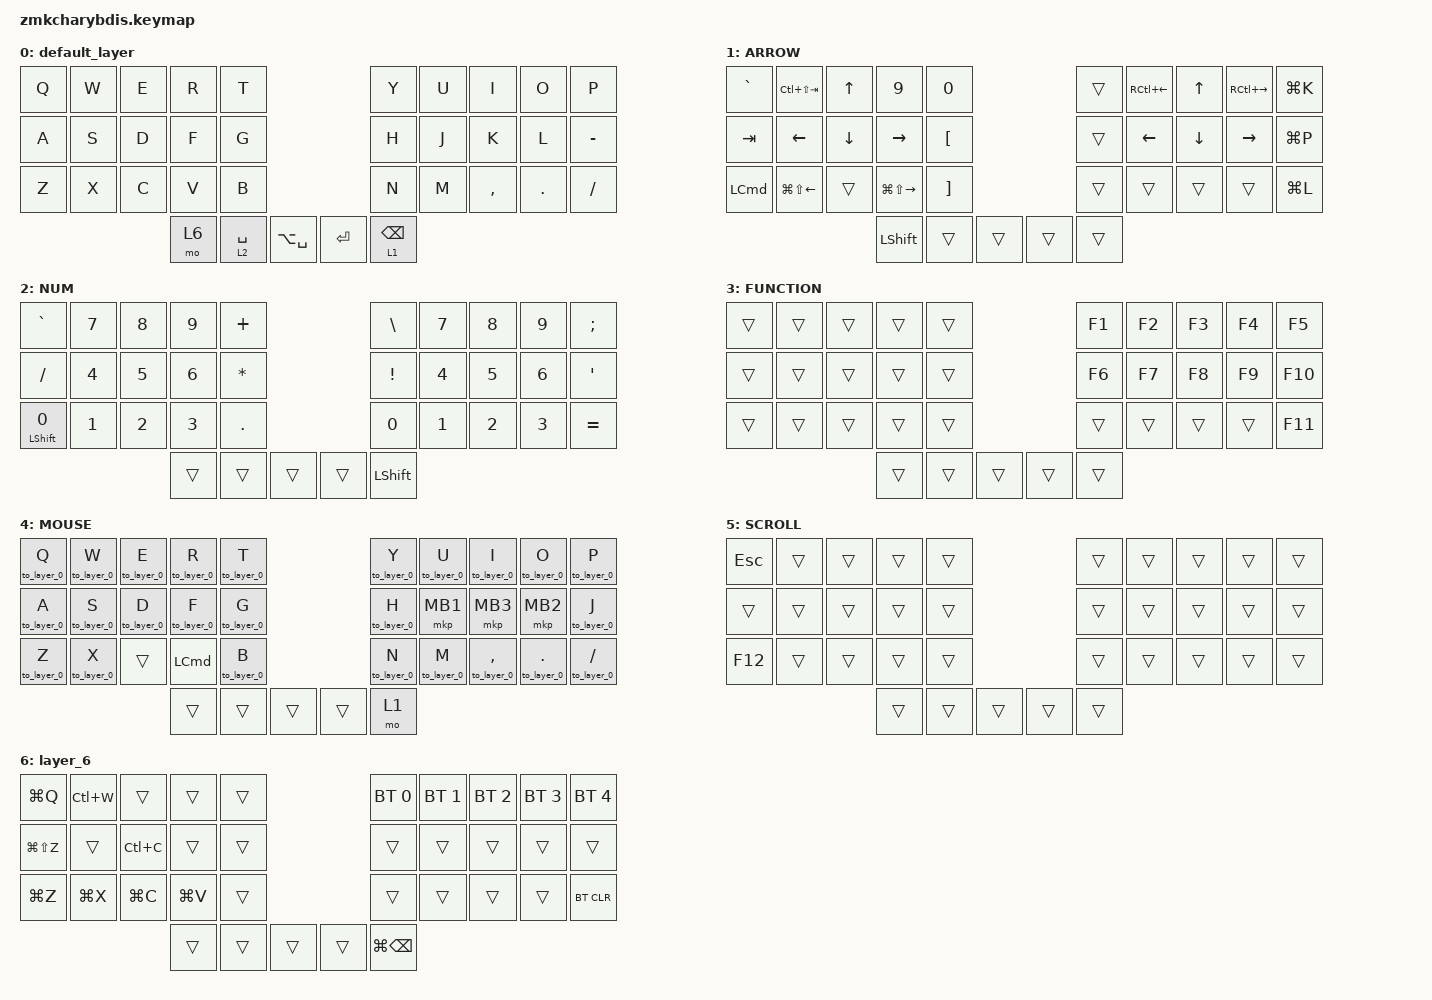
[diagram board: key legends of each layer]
#include <behaviors.dtsi>
#include <dt-bindings/zmk/bt.h>
#include <dt-bindings/zmk/keys.h>
#include <dt-bindings/zmk/pointing.h>

#define MOUSE 4
#define SCROLL 5
#define NUM 6

&mt {
    flavor = "balanced";
    quick-tap-ms = <0>;
};

/ {

    macros {
        to_layer_0: to_layer_0 {
            compatible = "zmk,behavior-macro-one-param";
            #binding-cells = <1>;
            bindings = <&to 0 &macro_param_1to1 &kp MACRO_PLACEHOLDER>;
            label = "TO_LAYER_0";
        };
    };

    behaviors {
        lt_to_layer_0: lt_to_layer_0 {
            compatible = "zmk,behavior-hold-tap";
            label = "LAYER_TAP_TO_0";
            bindings = <&mo>, <&to_layer_0>;

            #binding-cells = <2>;
            tapping-term-ms = <200>;
        };
    };

    keymap {
        compatible = "zmk,keymap";

        default_layer {
            bindings = <
                &kp Q       &kp W       &kp E       &kp R       &kp T                                       &kp Y       &kp U       &kp I       &kp O       &kp P
                &kp A       &kp S       &kp D       &kp F       &kp G                                       &kp H       &kp J       &kp K       &kp L       &kp MINUS
                &kp Z       &kp X       &kp C       &kp V       &kp B                                       &kp N       &kp M       &kp COMMA   &kp DOT     &kp SLASH
                                                    &mo 6       &lt 2 SPACE  &kp LA(SPACE)      &kp ENTER   &lt 1 BACKSPACE
            >;
        };

        ARROW {
            bindings = <
                &kp GRAVE   &kp LC(LS(TAB))        &kp UP_ARROW    &kp NUMBER_9            &kp NUMBER_0                                      &trans      &kp RC(LEFT_ARROW)   &kp UP_ARROW    &kp RC(RIGHT_ARROW)  &kp LG(K)
                &kp TAB     &kp LEFT_ARROW         &kp DOWN_ARROW  &kp RIGHT_ARROW         &kp LEFT_BRACKET                                  &trans      &kp LEFT_ARROW       &kp DOWN_ARROW  &kp RIGHT_ARROW      &kp LG(P)
                &kp LCMD    &kp LG(LS(LEFT_ARROW)) &trans          &kp LG(LS(RIGHT_ARROW)) &kp RIGHT_BRACKET                                 &trans      &trans               &trans          &trans               &kp LG(L)
                                                                   &kp LEFT_SHIFT          &trans               &trans           &trans      &trans
            >;
        };

        NUM {
            bindings = <
                &kp GRAVE                &kp NUMBER_7   &kp NUMBER_8   &kp NUMBER_9   &kp PLUS                            &kp BACKSLASH   &kp NUMBER_7   &kp NUMBER_8   &kp NUMBER_9   &kp SEMICOLON
                &kp SLASH                &kp NUMBER_4   &kp NUMBER_5   &kp NUMBER_6   &kp ASTERISK                        &kp EXCLAMATION &kp NUMBER_4   &kp NUMBER_5   &kp NUMBER_6   &kp SQT
                &mt LEFT_SHIFT NUMBER_0  &kp NUMBER_1   &kp NUMBER_2   &kp NUMBER_3   &kp PERIOD                          &kp NUMBER_0    &kp NUMBER_1   &kp NUMBER_2   &kp NUMBER_3   &kp EQUAL
                                                                       &trans         &trans         &trans      &trans   &kp LEFT_SHIFT
            >;
        };

        FUNCTION {
            bindings = <
&trans  &trans  &trans  &trans  &trans                       &kp F1  &kp F2  &kp F3  &kp F4  &kp F5
&trans  &trans  &trans  &trans  &trans                       &kp F6  &kp F7  &kp F8  &kp F9  &kp F10
&trans  &trans  &trans  &trans  &trans                       &trans  &trans  &trans  &trans  &kp F11
                        &trans  &trans  &trans      &trans   &trans
            >;
        };

        MOUSE {
            bindings = <
&to_layer_0 Q  &to_layer_0 W  &to_layer_0 E  &to_layer_0 R  &to_layer_0 T                         &to_layer_0 Y  &to_layer_0 U  &to_layer_0 I  &to_layer_0 O  &to_layer_0 P
&to_layer_0 A  &to_layer_0 S  &to_layer_0 D  &to_layer_0 F  &to_layer_0 G                         &to_layer_0 H  &mkp MB1       &mkp MB3       &mkp MB2       &to_layer_0 J
&to_layer_0 Z  &to_layer_0 X  &trans         &kp LCMD       &to_layer_0 B                         &to_layer_0 N  &to_layer_0 M  &to_layer_0 COMMA  &to_layer_0 DOT  &to_layer_0 SLASH
                                             &trans         &trans          &trans        &trans  &mo 1
            >;
        };

        SCROLL {
            bindings = <
&kp ESCAPE  &trans  &trans  &trans  &trans                      &trans  &trans  &trans  &trans  &trans
&trans      &trans  &trans  &trans  &trans                      &trans  &trans  &trans  &trans  &trans
&kp F12     &trans  &trans  &trans  &trans                      &trans  &trans  &trans  &trans  &trans
                            &trans  &trans  &trans      &trans  &trans
            >;
        };

        layer_6 {
            bindings = <
&kp LG(Q)         &kp LC(W)  &trans        &trans     &trans                       &bt BT_SEL 0  &bt BT_SEL 1  &bt BT_SEL 2  &bt BT_SEL 3  &bt BT_SEL 4
&kp LG(LS(Z))     &trans     &kp LC(C)     &trans     &trans                       &trans        &trans        &trans        &trans        &trans
&kp LG(Z)         &kp LG(X)  &kp LG(C)     &kp LG(V)  &trans                       &trans        &trans        &trans        &trans        &bt BT_CLR
                                           &trans     &trans  &trans      &trans   &kp LG(BACKSPACE)
            >;
        };
    };
};
